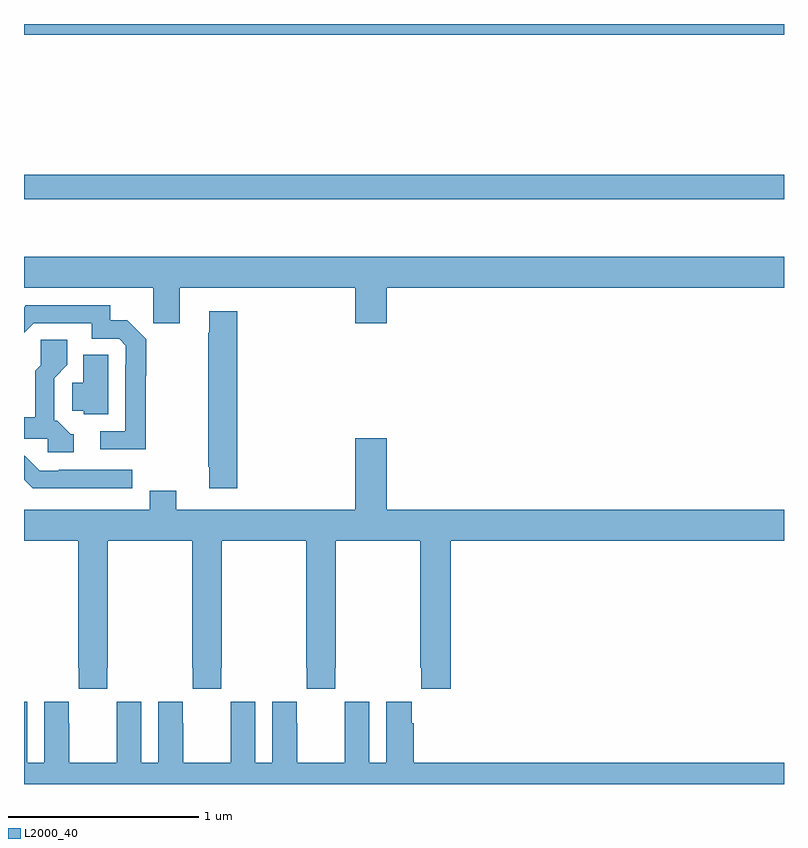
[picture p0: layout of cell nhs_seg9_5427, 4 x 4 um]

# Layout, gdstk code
import gdstk
lib = gdstk.Library(unit=1e-6, precision=1e-09)
def R(c, l, rs):  # rectangles x0, y0, x1, y1
    for r in rs: c.add(gdstk.rectangle(r[:2], r[2:], *l))
def P(c, l, *ps):  # polygons
    for p in ps: c.add(gdstk.Polygon(p, *l))
L2000_40 = (2000, 40)

nhs_seg9_5427 = lib.new_cell('nhs_seg9_5427')
R(nhs_seg9_5427, L2000_40, [(427,1171.578,431,1171.706), (427,1172.444,431,1172.5)])
P(nhs_seg9_5427, L2000_40, [(427.819,1171.112),(428.744,1171.112),(428.744,1170.924),(428.908,1170.924),(428.908,1171.112),(431,1171.112),(431,1171.276),(427,1171.276),(427,1171.112),(427.681,1171.112),(427.681,1170.924),(427.819,1170.924)],
  [(427.642,1170.649),(427.644,1170.649),(427.644,1170.84),(427.544,1170.94),(427.455,1170.94),(427.455,1171.02),(427.01,1171.02),(427,1171.01),(427,1170.874),(427.05,1170.924),(427.356,1170.924),(427.356,1170.843),(427.5,1170.843),(427.536,1170.807),(427.536,1170.707),(427.533,1170.707),(427.533,1170.357),(427.401,1170.357),(427.401,1170.261),(427.642,1170.261)],
  [(428.123,1170.988),(427.976,1170.988),(427.976,1170.875),(427.969,1170.875),(427.969,1170.169),(427.976,1170.169),(427.976,1170.057),(428.123,1170.057)],
  [(427.261,1170.342),(427.245,1170.342),(427.176,1170.411),(427.158,1170.411),(427.158,1170.636),(427.228,1170.706),(427.228,1170.838),(427.089,1170.838),(427.089,1170.703),(427.06,1170.674),(427.06,1170.429),(427,1170.429),(427,1170.318),(427.125,1170.318),(427.125,1170.246),(427.261,1170.246)],
  [(427.443,1170.758),(427.313,1170.758),(427.313,1170.611),(427.254,1170.611),(427.254,1170.465),(427.314,1170.465),(427.314,1170.446),(427.443,1170.446)],
  [(427.437,1169.113),(427.44,1169.113),(427.44,1169.78),(427.885,1169.78),(427.885,1169.113),(427.887,1169.113),(427.887,1169.001),(428.037,1169.001),(428.037,1169.113),(428.04,1169.113),(428.04,1169.78),(428.485,1169.78),(428.485,1169.113),(428.487,1169.113),(428.487,1169.001),(428.637,1169.001),(428.637,1169.113),(428.64,1169.113),(428.64,1169.78),(429.085,1169.78),(429.085,1169.113),(429.091,1169.113),(429.091,1169.001),(429.245,1169.001),(429.245,1169.78),(431,1169.78),(431,1169.944),(428.908,1169.944),(428.908,1170.319),(428.744,1170.319),(428.744,1169.944),(427.801,1169.944),(427.801,1170.043),(427.661,1170.043),(427.661,1169.944),(427,1169.944),(427,1169.78),(427.285,1169.78),(427.285,1169.113),(427.287,1169.113),(427.287,1169.001),(427.437,1169.001)],
  [(427.241,1170.057),(427.57,1170.057),(427.57,1170.153),(427.183,1170.153),(427.183,1170.15),(427.083,1170.15),(427.005,1170.228),(427,1170.228),(427,1170.101),(427.045,1170.056),(427.241,1170.056)],
  [(431,1168.612),(429.05,1168.612),(429.05,1168.82),(429.04,1168.82),(429.04,1168.933),(428.906,1168.933),(428.906,1168.612),(428.818,1168.612),(428.818,1168.933),(428.688,1168.933),(428.688,1168.82),(428.687,1168.82),(428.687,1168.612),(428.437,1168.612),(428.437,1168.82),(428.436,1168.82),(428.436,1168.933),(428.306,1168.933),(428.306,1168.612),(428.218,1168.612),(428.218,1168.933),(428.088,1168.933),(428.088,1168.82),(428.087,1168.82),(428.087,1168.612),(427.837,1168.612),(427.837,1168.82),(427.836,1168.82),(427.836,1168.933),(427.706,1168.933),(427.706,1168.612),(427.618,1168.612),(427.618,1168.933),(427.488,1168.933),(427.488,1168.82),(427.487,1168.82),(427.487,1168.612),(427.237,1168.612),(427.237,1168.82),(427.236,1168.82),(427.236,1168.933),(427.106,1168.933),(427.106,1168.612),(427.018,1168.612),(427.018,1168.933),(427,1168.933),(427,1168.5),(431,1168.5)])

lib.write_gds('nhs_seg9_5427.gds')
